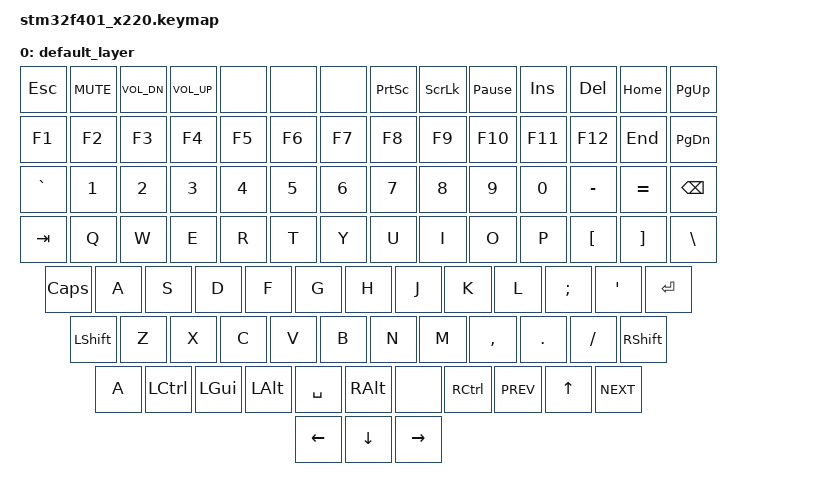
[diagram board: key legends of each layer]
#include <behaviors.dtsi>
#include <dt-bindings/zmk/keys.h>

/ {
    keymap {
        compatible = "zmk,keymap";

        default_layer {
            // ----------------------------------------
            // | ESC | MUTE | VOL UP | VOL DN | NONE | NONE | NONE | PRT SCN | SC LCK | PAUSE | INS | DEL | HOME | PG UP |
            // | F1 | F2 | F3 | F4 | F5 | F6 | F7 | F8 | F9 | F10 | F11 | F12 | END | PG DN |
            // | ` | 1 | 2 | 3 | 4 | 5 | 6 | 7 | 8 | 9 | 0 | - | + | BS |
            // | TAB | Q | W | E | R | T | Y | U | I | O | P | [ | ] | \ |
            // | CAPS | A | S | D | F | G | H | J | K | L | ; | ' | ENTER |
            // | LSHIFT | Z | X | C | V | B | N | M | , | . | / | RSHIFT |
            // | LCTRL | LGUI | LALT | SPACE | RALT | NONE | RCTRL | C_PREV | UP | C_NEXT |
            // | LEFT | DOWN | RIGHT |

             bindings = <
                &kp ESC &kp C_MUTE &kp C_VOL_DN &kp C_VOL_UP &none &none &none &kp PSCRN &kp SLCK &kp PAUSE_BREAK &kp INS &kp DEL &kp HOME &kp PG_UP
                &kp F1 &kp F2 &kp F3 &kp F4 &kp F5 &kp F6 &kp F7 &kp F8 &kp F9 &kp F10 &kp F11 &kp F12 &kp END &kp PG_DN
                &kp GRAVE &kp N1 &kp N2 &kp N3 &kp N4 &kp N5 &kp N6 &kp N7 &kp N8 &kp N9 &kp N0 &kp MINUS &kp EQUAL &kp BSPC
                &kp TAB &kp Q &kp W &kp E &kp R &kp T &kp Y &kp U &kp I &kp O &kp P &kp LBKT &kp RBKT &kp BSLH
                &kp CAPS &kp A &kp S &kp D &kp F &kp G &kp H &kp J &kp K &kp L &kp SEMI &kp APOS &kp ENTER
                &kp LSHIFT &kp Z &kp X &kp C &kp V &kp B &kp N &kp M &kp COMMA &kp DOT &kp SLASH &kp RSHIFT
                &kp A &kp LCTRL &kp LGUI &kp LALT &kp SPACE &kp RALT &none &kp RCTRL &kp C_PREV &kp UP &kp C_NEXT
                &kp LEFT &kp DOWN &kp RIGHT
            >;

        };

    };
};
